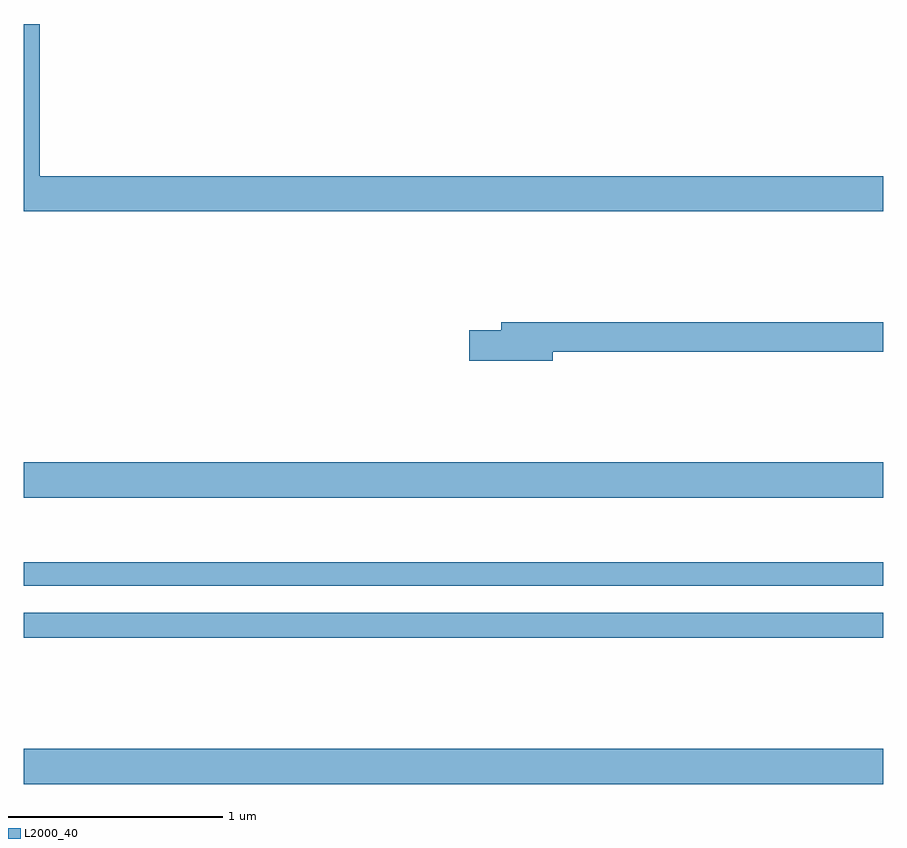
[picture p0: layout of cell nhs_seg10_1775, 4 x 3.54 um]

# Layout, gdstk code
import gdstk
lib = gdstk.Library(unit=1e-6, precision=1e-09)
def R(c, l, rs):  # rectangles x0, y0, x1, y1
    for r in rs: c.add(gdstk.rectangle(r[:2], r[2:], *l))
def P(c, l, *ps):  # polygons
    for p in ps: c.add(gdstk.Polygon(p, *l))
L2000_40 = (2000, 40)

nhs_seg10_1775 = lib.new_cell('nhs_seg10_1775')
R(nhs_seg10_1775, L2000_40, [(203,1318.964,207,1319.128), (203,1319.644,207,1319.76), (203,1319.886,207,1319.995), (203,1320.296,207,1320.46)])
P(nhs_seg10_1775, L2000_40, [(207,1321.792),(203.075,1321.792),(203.075,1322.5),(203,1322.5),(203,1321.628),(207,1321.628)],
  [(205.462,1320.976),(207,1320.976),(207,1321.112),(205.223,1321.112),(205.223,1321.076),(205.074,1321.076),(205.074,1320.934),(205.462,1320.934)])

lib.write_gds('nhs_seg10_1775.gds')
